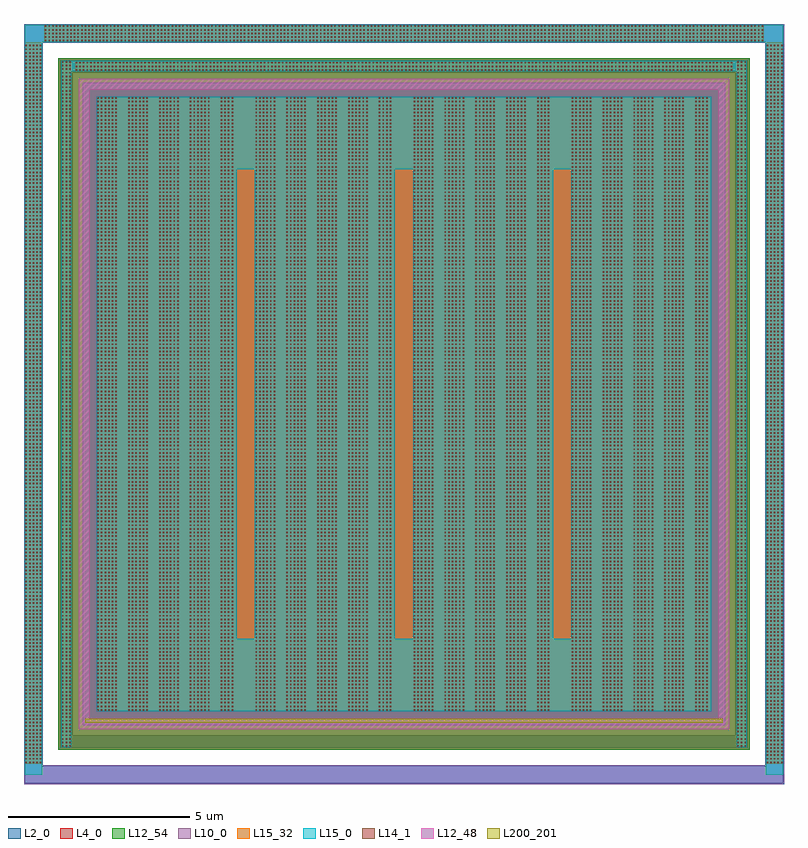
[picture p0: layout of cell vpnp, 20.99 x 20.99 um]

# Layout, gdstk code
import gdstk
lib = gdstk.Library(unit=1e-6, precision=1e-09)
def R(c, l, rs):  # rectangles x0, y0, x1, y1
    for r in rs: c.add(gdstk.rectangle(r[:2], r[2:], *l))
def A(c, l, x, y, w, h, nx, ny, dx, dy):  # array of equal rectangles
    R(c, l, [(x+i*dx, y+j*dy, x+i*dx+w, y+j*dy+h) for i in range(nx) for j in range(ny)])
L2_0 = (2, 0)
L4_0 = (4, 0)
L10_0 = (10, 0)
L12_48 = (12, 48)
L12_54 = (12, 54)
L14_1 = (14, 1)
L15_0 = (15, 0)
L15_32 = (15, 32)
L200_201 = (200, 201)

vpnp = lib.new_cell('vpnp')
R(vpnp, L2_0, [(-16.979,-9.009,3.973,-8.529), (-16.979,-8.529,-16.499,11.463), (3.493,-8.529,3.973,11.463), (-15.999,-8.029,2.993,-7.689), (-15.999,-7.689,-15.659,10.623), (2.653,-7.689,2.993,10.623), (-15.303,-7.333,2.297,10.267), (-15.999,10.623,2.993,10.963), (-16.979,11.463,3.973,11.943)])
R(vpnp, L4_0, [(-16.055,-8.085,3.049,11.019)])
R(vpnp, L10_0, [(-17,-9.03,3.994,-8.508), (-17,-8.508,-16.478,11.442), (3.472,-8.508,3.994,11.442), (-15.373,-7.403,2.367,10.337), (-17,11.442,3.994,11.964)])
R(vpnp, L12_48, [(-15.484,-7.514,2.478,-7.208), (-15.484,-7.208,-15.178,10.142), (2.172,-7.208,2.478,10.142), (-15.484,10.142,2.478,10.448)])
R(vpnp, L12_54, [(-16.055,-8.085,3.049,11.019)])
A(vpnp, L14_1, -16.959, -8.453, 0.04, 0.04, 5, 199, 0.1, 0.1)
A(vpnp, L14_1, 3.513, -8.453, 0.04, 0.04, 5, 199, 0.1, 0.1)
A(vpnp, L14_1, -15.949, -8.003, 0.04, 0.04, 3, 190, 0.1, 0.1)
A(vpnp, L14_1, 2.703, -8.003, 0.04, 0.04, 3, 190, 0.1, 0.1)
A(vpnp, L14_1, -14.973, -7.003, 0.04, 0.04, 6, 170, 0.1, 0.1)
A(vpnp, L14_1, -14.121, -7.003, 0.04, 0.04, 6, 170, 0.1, 0.1)
A(vpnp, L14_1, -13.269, -7.003, 0.04, 0.04, 6, 170, 0.1, 0.1)
A(vpnp, L14_1, -12.417, -7.003, 0.04, 0.04, 6, 170, 0.1, 0.1)
A(vpnp, L14_1, -11.565, -7.003, 0.04, 0.04, 4, 170, 0.1, 0.1)
A(vpnp, L14_1, -10.604, -7.003, 0.04, 0.04, 6, 170, 0.1, 0.1)
A(vpnp, L14_1, -9.752, -7.003, 0.04, 0.04, 6, 170, 0.1, 0.1)
A(vpnp, L14_1, -8.9, -7.003, 0.04, 0.04, 6, 170, 0.1, 0.1)
A(vpnp, L14_1, -8.048, -7.003, 0.04, 0.04, 6, 170, 0.1, 0.1)
A(vpnp, L14_1, -7.196, -7.003, 0.04, 0.04, 4, 170, 0.1, 0.1)
A(vpnp, L14_1, -6.235, -7.003, 0.04, 0.04, 6, 170, 0.1, 0.1)
A(vpnp, L14_1, -5.383, -7.003, 0.04, 0.04, 6, 170, 0.1, 0.1)
A(vpnp, L14_1, -4.531, -7.003, 0.04, 0.04, 6, 170, 0.1, 0.1)
A(vpnp, L14_1, -3.679, -7.003, 0.04, 0.04, 6, 170, 0.1, 0.1)
A(vpnp, L14_1, -2.827, -7.003, 0.04, 0.04, 4, 170, 0.1, 0.1)
A(vpnp, L14_1, -1.866, -7.003, 0.04, 0.04, 6, 170, 0.1, 0.1)
A(vpnp, L14_1, -1.014, -7.003, 0.04, 0.04, 6, 170, 0.1, 0.1)
A(vpnp, L14_1, -0.162, -7.003, 0.04, 0.04, 6, 170, 0.1, 0.1)
A(vpnp, L14_1, 0.69, -7.003, 0.04, 0.04, 6, 170, 0.1, 0.1)
A(vpnp, L14_1, 1.542, -7.003, 0.04, 0.04, 4, 170, 0.1, 0.1)
A(vpnp, L14_1, -15.573, 10.673, 0.04, 0.04, 182, 3, 0.1, 0.1)
A(vpnp, L14_1, -16.423, 11.483, 0.04, 0.04, 199, 5, 0.1, 0.1)
A(vpnp, L15_0, -14.991, -5.021, 3.869, 12.976, 4, 1, 4.369, 0)
R(vpnp, L15_0, [(-16.977,-8.769,-16.501,11.941), (3.495,-8.769,3.971,11.941), (-15.967,-8.021,-15.691,10.955), (2.685,-8.021,2.961,10.955), (-14.991,-7.021,1.985,-5.021), (-14.991,7.955,1.985,9.955), (-15.691,10.655,2.685,10.955), (-16.501,11.465,3.495,11.941)])
R(vpnp, L15_32, [(-16.977,-8.471,-16.501,11.465), (3.495,-8.471,3.971,11.465), (-15.967,-8.021,-15.691,10.955), (2.685,-8.021,2.961,10.955), (-14.991,-7.021,1.985,9.955), (-15.591,10.655,2.585,10.931), (-16.441,11.465,3.435,11.941)])
R(vpnp, L200_201, [(-15.303,-7.333,2.297,-7.233)])

lib.write_gds('vpnp.gds')
